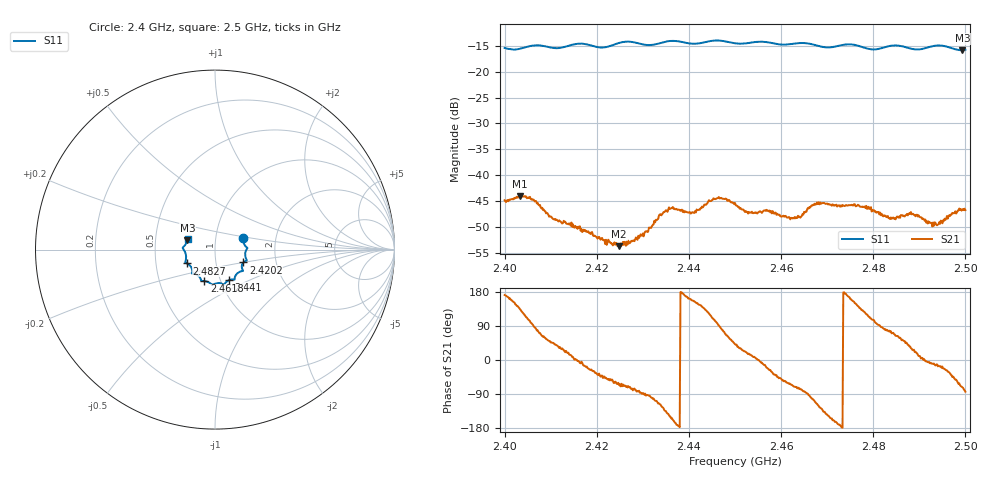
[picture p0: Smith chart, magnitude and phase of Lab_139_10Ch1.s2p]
# Hz S RI R 50
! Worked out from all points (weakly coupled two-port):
!   601 points, 2.4 GHz to 2.5 GHz, reference 50 ohm
!   highest |S21| = -44.06 dB at 2.4033 GHz (marker M1); lowest = -53.8 dB at 2.4248 GHz (marker M2)
!   lowest |S11| = -15.8 dB at 2.4993 GHz (marker M3), VSWR 1.39, Z = 36.5 + j3.84 ohm
!   |S11| at or under -10 dB: start of sweep to end of sweep
!   S12 and S22 are empty: the file has one direction only
!   S11 on the Smith chart (normalised r, x): 2.4 GHz: 1.36, +0.18; 2.4202 GHz: 1.36, -0.20; 2.441 GHz: 1.10, -0.39; 2.4618 GHz: 0.84, -0.30; 2.4827 GHz: 0.72, -0.11; 2.5 GHz: 0.73, +0.09
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2.4e9  0.1583 0.0629  -0.00564 0.000839  0 0  0 0
2.403333e9  0.1656 0.0247  -0.00435 0.00451  0 0  0 0
2.416667e9  0.1776 -0.0607  0.003 -0.000238  0 0  0 0
2.420167e9  0.1583 -0.0715  0.00189 -0.00152  0 0  0 0
2.424833e9  0.1538 -0.1125  0.000835 -0.00187  0 0  0 0
2.430667e9  0.1297 -0.1283  -0.000187 -0.00285  0 0  0 0
2.433333e9  0.1115 -0.1509  -0.00159 -0.00343  0 0  0 0
2.436167e9  0.1093 -0.1668  -0.00431 -0.00208  0 0  0 0
2.441e9  0.0785 -0.1697  -0.00396 0.00174  0 0  0 0
2.446e9  0.05 -0.195  -0.00094 0.00588  0 0  0 0
2.45e9  0.0284 -0.1869  0.004 0.00357  0 0  0 0
2.452667e9  0.00207 -0.1894  0.00419 0.00133  0 0  0 0
2.461833e9  -0.0595 -0.1754  0.00184 -0.00342  0 0  0 0
2.464333e9  -0.0746 -0.1749  0.000862 -0.00386  0 0  0 0
2.466667e9  -0.0784 -0.1682  -0.00103 -0.00498  0 0  0 0
2.476333e9  -0.1272 -0.1288  -0.0042 0.00271  0 0  0 0
2.482667e9  -0.1561 -0.0771  0.000626 0.00399  0 0  0 0
2.483333e9  -0.1603 -0.0754  0.000954 0.0037  0 0  0 0
2.488167e9  -0.1609 -0.0473  0.00375 0.00228  0 0  0 0
2.493667e9  -0.1796 0.00766  0.00323 -0.000712  0 0  0 0
2.499333e9  -0.154 0.0513  0.00143 -0.00441  0 0  0 0
2.5e9  -0.1521 0.0609  0.000513 -0.00455  0 0  0 0
